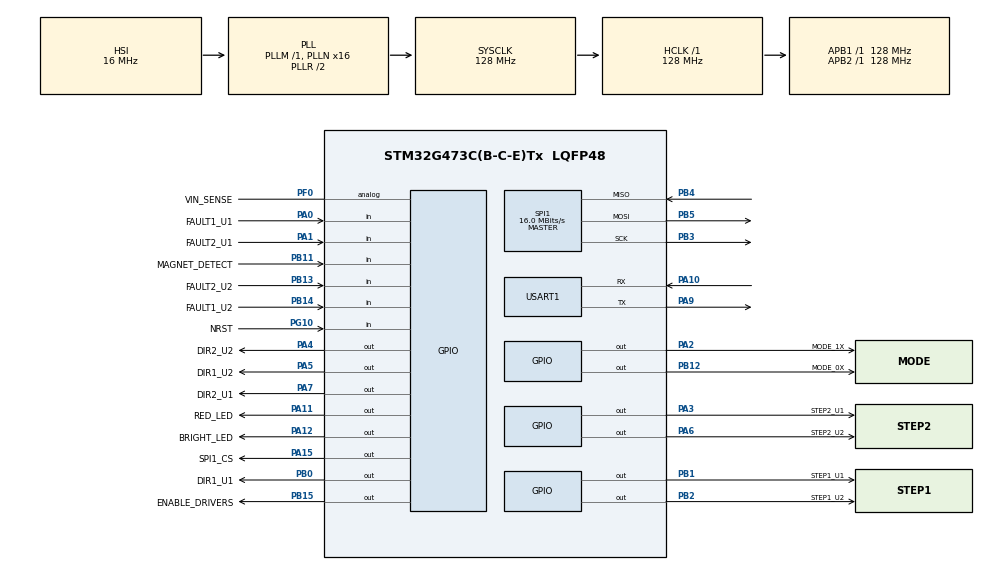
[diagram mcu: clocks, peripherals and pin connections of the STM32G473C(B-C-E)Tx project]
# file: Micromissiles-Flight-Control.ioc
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Dma.Request0=SPI1_TX
Dma.Request1=SPI1_RX
Dma.SPI1_RX.1.Direction=DMA_PERIPH_TO_MEMORY
Dma.SPI1_RX.1.EventEnable=DISABLE
Dma.SPI1_RX.1.Instance=DMA1_Channel2
Dma.SPI1_RX.1.MemDataAlignment=DMA_MDATAALIGN_BYTE
Dma.SPI1_RX.1.MemInc=DMA_MINC_ENABLE
Dma.SPI1_RX.1.Mode=DMA_NORMAL
Dma.SPI1_RX.1.PeriphDataAlignment=DMA_PDATAALIGN_BYTE
Dma.SPI1_RX.1.PeriphInc=DMA_PINC_DISABLE
Dma.SPI1_RX.1.Polarity=HAL_DMAMUX_REQ_GEN_RISING
Dma.SPI1_RX.1.Priority=DMA_PRIORITY_HIGH
Dma.SPI1_RX.1.RequestNumber=1
Dma.SPI1_RX.1.SignalID=NONE
Dma.SPI1_RX.1.SyncEnable=DISABLE
Dma.SPI1_RX.1.SyncPolarity=HAL_DMAMUX_SYNC_NO_EVENT
Dma.SPI1_RX.1.SyncRequestNumber=1
Dma.SPI1_RX.1.SyncSignalID=NONE
Dma.SPI1_TX.0.Direction=DMA_MEMORY_TO_PERIPH
Dma.SPI1_TX.0.EventEnable=DISABLE
Dma.SPI1_TX.0.Instance=DMA1_Channel1
Dma.SPI1_TX.0.MemDataAlignment=DMA_MDATAALIGN_BYTE
Dma.SPI1_TX.0.MemInc=DMA_MINC_DISABLE
Dma.SPI1_TX.0.Mode=DMA_NORMAL
Dma.SPI1_TX.0.PeriphDataAlignment=DMA_PDATAALIGN_BYTE
Dma.SPI1_TX.0.PeriphInc=DMA_PINC_DISABLE
Dma.SPI1_TX.0.Polarity=HAL_DMAMUX_REQ_GEN_RISING
Dma.SPI1_TX.0.Priority=DMA_PRIORITY_HIGH
Dma.SPI1_TX.0.RequestNumber=1
Dma.SPI1_TX.0.SignalID=NONE
Dma.SPI1_TX.0.SyncEnable=ENABLE
Dma.SPI1_TX.0.SyncPolarity=HAL_DMAMUX_SYNC_RISING
Dma.SPI1_TX.0.SyncRequestNumber=1
Dma.SPI1_TX.0.SyncSignalID=NONE
Mcu.Family=STM32G4
Mcu.Name=STM32G473C(B-C-E)Tx
Mcu.Package=LQFP48
NVIC.DMA1_Channel1_IRQn=true\:0\:0\:false\:false\:true\:false\:true\:true
NVIC.DMA1_Channel2_IRQn=true\:0\:0\:false\:false\:true\:false\:true\:true
NVIC.DMAMUX_OVR_IRQn=true\:0\:0\:false\:false\:true\:false\:true\:true
NVIC.PriorityGroup=NVIC_PRIORITYGROUP_4
PA0.GPIO_Label=FAULT1_U1
PA0.GPIO_PuPd=GPIO_PULLUP
PA0.Signal=GPIO_Input
PA1.GPIO_Label=FAULT2_U1
PA1.GPIO_PuPd=GPIO_PULLUP
PA1.Signal=GPIO_Input
PA10.Mode=Asynchronous
PA10.Signal=USART1_RX
PA11.GPIO_Label=RED_LED
PA11.GPIO_PuPd=GPIO_PULLDOWN
PA11.Signal=GPIO_Output
PA12.GPIO_Label=BRIGHT_LED
PA12.GPIO_PuPd=GPIO_PULLDOWN
PA12.Signal=GPIO_Output
PA13.Mode=Serial_Wire
PA13.Signal=SYS_JTMS-SWDIO
PA14.Mode=Serial_Wire
PA14.Signal=SYS_JTCK-SWCLK
PA15.GPIO_Label=SPI1_CS
PA15.GPIO_Speed=GPIO_SPEED_FREQ_VERY_HIGH
PA15.PinState=GPIO_PIN_SET
PA15.Signal=GPIO_Output
PA2.GPIO_Label=MODE_1X
PA2.GPIO_PuPd=GPIO_PULLDOWN
PA2.Signal=GPIO_Output
PA3.GPIO_Label=STEP2_U1
PA3.GPIO_PuPd=GPIO_PULLDOWN
PA3.Signal=GPIO_Output
PA4.GPIO_Label=DIR2_U2
PA4.GPIO_PuPd=GPIO_PULLDOWN
PA4.Signal=GPIO_Output
PA5.GPIO_Label=DIR1_U2
PA5.GPIO_PuPd=GPIO_PULLDOWN
PA5.Signal=GPIO_Output
PA6.GPIO_Label=STEP2_U2
PA6.GPIO_PuPd=GPIO_PULLDOWN
PA6.Signal=GPIO_Output
PA7.GPIO_Label=DIR2_U1
PA7.GPIO_PuPd=GPIO_PULLDOWN
PA7.Signal=GPIO_Output
PA9.Mode=Asynchronous
PA9.Signal=USART1_TX
PB0.GPIO_Label=DIR1_U1
PB0.GPIO_PuPd=GPIO_PULLDOWN
PB0.Signal=GPIO_Output
PB1.GPIO_Label=STEP1_U1
PB1.GPIO_PuPd=GPIO_PULLDOWN
PB1.Signal=GPIO_Output
PB11.GPIO_Label=MAGNET_DETECT
PB11.GPIO_PuPd=GPIO_PULLDOWN
PB11.Signal=GPIO_Input
PB12.GPIO_Label=MODE_0X
PB12.GPIO_PuPd=GPIO_PULLDOWN
PB12.Signal=GPIO_Output
PB13.GPIO_Label=FAULT2_U2
PB13.GPIO_PuPd=GPIO_PULLUP
PB13.Signal=GPIO_Input
PB14.GPIO_Label=FAULT1_U2
PB14.GPIO_PuPd=GPIO_PULLUP
PB14.Signal=GPIO_Input
PB15.GPIO_Label=ENABLE_DRIVERS
PB15.Signal=GPIO_Output
PB2.GPIO_Label=STEP1_U2
PB2.GPIO_PuPd=GPIO_PULLDOWN
PB2.Signal=GPIO_Output
PB3.GPIO_Speed=GPIO_SPEED_FREQ_VERY_HIGH
PB3.Mode=Full_Duplex_Master
PB3.Signal=SPI1_SCK
PB4.GPIO_Speed=GPIO_SPEED_FREQ_VERY_HIGH
PB4.Mode=Full_Duplex_Master
PB4.Signal=SPI1_MISO
PB5.GPIO_Speed=GPIO_SPEED_FREQ_VERY_HIGH
PB5.Mode=Full_Duplex_Master
PB5.Signal=SPI1_MOSI
PF0-OSC_IN.GPIO_Label=VIN_SENSE
PF0-OSC_IN.GPIO_Pd=GPIO_NOPULL
PF0-OSC_IN.Signal=GPIO_Analog
PG10-NRST.GPIO_Label=NRST
PG10-NRST.GPIO_PuPd=GPIO_PULLUP
PG10-NRST.Signal=GPIO_Input
ProjectManager.HeapSize=0x200
ProjectManager.StackSize=0x400
ProjectManager.TargetToolchain=STM32CubeIDE
RCC.ADC12Freq_Value=128000000
RCC.ADC345Freq_Value=128000000
RCC.AHBFreq_Value=128000000
RCC.APB1Freq_Value=128000000
RCC.APB1TimFreq_Value=128000000
RCC.APB2Freq_Value=128000000
RCC.APB2TimFreq_Value=128000000
RCC.CortexFreq_Value=128000000
RCC.EXTERNAL_CLOCK_VALUE=12288000
RCC.HCLKFreq_Value=128000000
RCC.HSE_VALUE=8000000
RCC.HSI48_VALUE=48000000
RCC.HSI_VALUE=16000000
RCC.LSE_VALUE=32768
RCC.PLLN=16
RCC.SYSCLKFreq_VALUE=128000000
RCC.SYSCLKSource=RCC_SYSCLKSOURCE_PLLCLK
RCC.USBFreq_Value=128000000
RCC.VCOOutputFreq_Value=256000000
SPI1.BaudRatePrescaler=SPI_BAUDRATEPRESCALER_8
SPI1.CLKPhase=SPI_PHASE_2EDGE
SPI1.CLKPolarity=SPI_POLARITY_HIGH
SPI1.CalculateBaudRate=16.0 MBits/s
SPI1.DataSize=SPI_DATASIZE_8BIT
SPI1.Direction=SPI_DIRECTION_2LINES
SPI1.Mode=SPI_MODE_MASTER
SPI1.VirtualType=VM_MASTER
TIM1.AutoReloadPreload=TIM_AUTORELOAD_PRELOAD_ENABLE
TIM1.PeriodNoDither=128-1
TIM1.Prescaler=1000-1
TIM1.TIM_MasterOutputTrigger=TIM_TRGO_UPDATE
TIM1.TIM_MasterSlaveMode=TIM_MASTERSLAVEMODE_DISABLE
USART1.VirtualMode-Asynchronous=VM_ASYNC
VP_SYS_VS_DBSignals.Mode=DisableDeadBatterySignals
VP_TIM1_VS_ClockSourceINT.Mode=Internal
board=custom

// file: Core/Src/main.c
/* USER CODE BEGIN Header */
/**
  ******************************************************************************
  * @file           : main.c
  * @brief          : Main program body
  ******************************************************************************
  * @attention
  *
  * Copyright (c) 2025 STMicroelectronics.
  * All rights reserved.
  *
  * This software is licensed under terms that can be found in the LICENSE file
  * in the root directory of this software component.
  * If no LICENSE file comes with this software, it is provided AS-IS.
  *
  ******************************************************************************
  */
/* USER CODE END Header */
#include "main.h"

/* USER CODE BEGIN Includes */
#include <stdint.h>
#include <string.h>
#include <stdlib.h>
#include <math.h>
#include <stdbool.h>
#include <stdio.h>

/* USER CODE END Includes */

/* USER CODE BEGIN PTD */
typedef enum {
  REGISTER_SENSOR_CONFIG0 = 0x03, // These five are from Titan
  REGISTER_FIFO_CONFIG = 0x16,
  REGISTER_FIFO_COUNTH = 0x2E,
  REGISTER_FIFO_COUNTL = 0x2F,
  REGISTER_FIFO_DATA = 0x30,

  REGISTER_IMU_READINGS = 0x1D, // Starts at TEMP_DATA1, read the next 16 bytes to 0x2C (TMST_FSYNCL)
//
//  REGISTER_TEMP_DATA1 = 0x1D,
//  REGISTER_TEMP_DATA0 = 0x1E,
//  REGISTER_ACCEL_DATA_X1 = 0x1F, // Accel data from 0x1F to 0x24 (X->Y->Z), gyro data from 0x25 to 0x2A (X->Y->Z)
//  	  	  	  	  	  	  	  	 // 0x1F contains bits [15:8], 0x20 contains bits [7:0]
//  REGISTER_TMST_FSYNCH = 0x2B,
//  REGISTER_TMST_FSYNCL = 0x2C,

  REGISTER_PWR_MGMT0 = 0x4E,
  REGISTER_GYRO_CONFIG0 = 0x4F,
  REGISTER_ACCEL_CONFIG0 = 0x50,

  REGISTER_FIFO_CONFIG1 = 0x5F, // These four are from Titan
  REGISTER_FIFO_CONFIG2 = 0x60,
  REGISTER_FIFO_CONFIG3 = 0x61,
  REGISTER_WHO_AM_I = 0x75,

  REGISTER_BANK_SEL = 0x76, // 000 for 0, 001 for 1, 010 for 2, 011 for 3, and 100 for 4
} imu_register_e;

//typedef struct {
//  uint8_t reserved;
//  int8_t temperature_1;
//  int8_t temperature_0;
//  int8_t accel_x1;
//  int8_t accel_x0;
//  int8_t accel_y1;
//  int8_t accel_y0;
//  int8_t accel_z1;
//  int8_t accel_z0;
//  int8_t gyro_x1;
//  int8_t gyro_x0;
//  int8_t gyro_y1;
//  int8_t gyro_y0;
//  int8_t gyro_z1;
//  int8_t gyro_z0;
//  int8_t timestamp_1;
//  int8_t timestamp_0;
//} imu_packet_t;

typedef struct {
  uint8_t reserved;
  uint8_t temperature_1;
  uint8_t temperature_0;
  uint8_t accel_x1;
  uint8_t accel_x0;
  uint8_t accel_y1;
  uint8_t accel_y0;
  uint8_t accel_z1;
  uint8_t accel_z0;
  uint8_t gyro_x1;
  uint8_t gyro_x0;
  uint8_t gyro_y1;
  uint8_t gyro_y0;
  uint8_t gyro_z1;
  uint8_t gyro_z0;
  uint8_t timestamp_1;
  uint8_t timestamp_0;
} imu_packet_t;
/* USER CODE END PTD */

/* USER CODE BEGIN PD */
#define SPI_TIMEOUT 10
#define SPI_MAX_PACKET_SIZE 64
#define IMU_PACKET_SIZE 16 // 2B temperature, 6B X->Y->Z accel, 6B X->Y->Z gyro, 2B timestamp
#define IMU_SPI_PACKET_SIZE (IMU_PACKET_SIZE + 1)
#define IMU_DEFAULT_WHO_AM_I 0x42
//#define IMU_FLASH_SIZE (126 * 1024)
#define ACCEL_THRESHOLD_RAW 3000
#define GYRO_THRESHOLD_RAW 90
#define GRAV_HYSTERESIS 2000

/* USER CODE END PD */

SPI_HandleTypeDef hspi1;
DMA_HandleTypeDef hdma_spi1_tx;
DMA_HandleTypeDef hdma_spi1_rx;

TIM_HandleTypeDef htim1;

UART_HandleTypeDef huart1;

/* USER CODE BEGIN PV */
uint8_t g_spi_tx_buffer[SPI_MAX_PACKET_SIZE];
uint8_t g_spi_rx_buffer[SPI_MAX_PACKET_SIZE];
//uint8_t g_imu_buffer[IMU_PACKET_SIZE];

//uint8_t g_imu_flash_buffer[IMU_FLASH_SIZE] __attribute__((section(".imu")));
//size_t g_imu_flash_num_bytes_written = 0;
uint32_t current_write_addr = 0x08070000;
const uint32_t FLASH_END_ADDR = 0x08080000;
uint32_t last_write_tick = 0;
uint32_t last_uart_tick = 0;
char uart_buf[64];

uint32_t last_blink_tick = 0;
bool led_state = false;

bool magnet_on = false;
bool prev_magnet_on = false;

volatile int16_t current_accel_x = 0, current_accel_y = 0, current_accel_z = 0;
volatile int16_t current_gyro_x = 0, current_gyro_y = 0, current_gyro_z = 0;

volatile float q0 = 1.0f, q1 = 0.0f, q2 = 0.0f, q3 = 0.0f;
const float beta = 0.1;

volatile float current_roll = 0.0f;
volatile float roll_error = 0.0f;
//float target_pitch = 0.0f;
float target_roll = 0.0f;
bool has_target_orientation = false;
/* USER CODE END PV */

void SystemClock_Config(void);
static void MX_GPIO_Init(void);
static void MX_DMA_Init(void);
static void MX_SPI1_Init(void);
static void MX_TIM1_Init(void);
static void MX_USART1_UART_Init(void);
/* USER CODE BEGIN PFP */

void MadgwickAHRSupdateIMU(float gx, float gy, float gz, float ax, float ay, float az, float dt);

static void red_led_on(void) {
  HAL_GPIO_WritePin(GPIOA, RED_LED_Pin, GPIO_PIN_SET);
}
static void red_led_off(void) {
  HAL_GPIO_WritePin(GPIOA, RED_LED_Pin, GPIO_PIN_RESET);
}

static void bright_led_on(void) {
  HAL_GPIO_WritePin(GPIOA, BRIGHT_LED_Pin, GPIO_PIN_SET);
}
static void bright_led_off(void) {
  HAL_GPIO_WritePin(GPIOA, BRIGHT_LED_Pin, GPIO_PIN_RESET);
}

/* USER CODE END PFP */

/* USER CODE BEGIN 0 */
static void cs_select(void) {
	HAL_GPIO_WritePin(SPI1_CS_GPIO_Port, SPI1_CS_Pin, GPIO_PIN_RESET);
}
static void cs_deselect(void) {
	HAL_GPIO_WritePin(SPI1_CS_GPIO_Port, SPI1_CS_Pin, GPIO_PIN_SET);
}

static void spi_write(imu_register_e address, uint8_t data) {
  cs_select();
  g_spi_tx_buffer[0] = address & 0x7F;
  g_spi_tx_buffer[1] = data;
  HAL_SPI_Transmit(&hspi1, g_spi_tx_buffer, 2, SPI_TIMEOUT);
  cs_deselect();
}

static void spi_read(imu_register_e address, size_t length) {
  cs_select();
  g_spi_tx_buffer[0] = address | 0x80;
  HAL_SPI_TransmitReceive(&hspi1, g_spi_tx_buffer, g_spi_rx_buffer, length, SPI_TIMEOUT);
  cs_deselect();
}

static void imu_init(void) {
  spi_write(REGISTER_BANK_SEL, 0x00);
  HAL_Delay(50);
//  // Enable stream-to-FIFO mode.
//  spi_write(REGISTER_FIFO_CONFIG, 1 << 6);
//  // Enable temperature, gyroscope, and accelomerater data.
//  spi_write(REGISTER_FIFO_CONFIG1, 0x07);
  spi_write(REGISTER_PWR_MGMT0, 0x0F);
  HAL_Delay(50);
  spi_write(REGISTER_GYRO_CONFIG0, 0x44); // 500 degrees full scale, 4kHz ODR
  HAL_Delay(50);
  spi_write(REGISTER_ACCEL_CONFIG0, 0x24); // 8 g's full scale, 4kHz ODR
  HAL_Delay(10);
}

static void imu_verify(void) {
  spi_read(REGISTER_WHO_AM_I, /*length=*/2);
  if (g_spi_rx_buffer[1] == IMU_DEFAULT_WHO_AM_I) {
      red_led_on();
      HAL_Delay(1000);
      red_led_off();
  } else {
      red_led_on();
      HAL_Delay(3000);
      red_led_off();
  }
}

void save_to_flash(uint8_t *pData, uint32_t flash_address) {
  HAL_FLASH_Unlock();

//  // Loop 1
//  uint64_t data_packed = 0;
//  memcpy(&data_packed, pData, 8);
//  if (HAL_FLASH_Program(FLASH_TYPEPROGRAM_DOUBLEWORD, flash_address, data_packed) != HAL_OK) {
//	  return;
//  }
//
//  // Loop 2
//  uint64_t data_packed = 0;
//    memcpy(&data_packed, pData+8, 8);
////    if (HAL_FLASH_Program(FLASH_TYPEPROGRAM_DOUBLEWORD, flash_address+8, data_packed) != HAL_OK) {
////  	  break;
////    }

  for (int i = 0; i < 2; i++)
      {
          uint64_t data_packed = 0;

          // Safe copying: We use memcpy to move 8 bytes from the byte array
          // into a 64-bit variable. This avoids memory alignment crashes
          // that can happen if you just cast pointers.
          memcpy(&data_packed, (pData + (i * 8)), 8);

          // 3. Program the Double Word (64-bit)
          // Note: We increment the address by 8 bytes for the second loop iteration
          if (HAL_FLASH_Program(FLASH_TYPEPROGRAM_DOUBLEWORD, flash_address + (i * 8), data_packed) != HAL_OK)
          {
              // Optional: Handle Error (e.g., turn on Error LED)
              // Error_Handler();
              break;
          }
      }

  HAL_FLASH_Lock();
}

void TIM1_UP_TIM16_IRQHandler(void) {
  HAL_TIM_IRQHandler(&htim1);
}

//void temperature_check(int16_t detected_temperature) {
//	int16_t celsius = 25 + (detected_temperature / 132.48);
//	if (celsius > 1) { // Another option is celsius < 100 (both should obviously return true)
//		red_led_on();
//		HAL_Delay(1000);
//		red_led_off();
//	} else {
//		red_led_on();
//		HAL_Delay(1000);
//		red_led_off();
//	}
//}

void HAL_TIM_PeriodElapsedCallback(TIM_HandleTypeDef *htim) {
  if (htim->Instance == TIM1) {

    if (hspi1.State == HAL_SPI_STATE_READY) {
    	spi_read(REGISTER_IMU_READINGS, IMU_SPI_PACKET_SIZE);
    	imu_packet_t* packet = (imu_packet_t*)g_spi_rx_buffer;
    	int16_t temperature = ((int16_t)(packet->temperature_1) << 8) | packet->temperature_0;
    	int16_t accel_x = ((int16_t)(packet->accel_x1) << 8) | packet->accel_x0;
    	int16_t accel_y = ((int16_t)(packet->accel_y1) << 8) | packet->accel_y0;
    	int16_t accel_z = ((int16_t)(packet->accel_z1) << 8) | packet->accel_z0;
    	int16_t gyro_x = ((int16_t)(packet->gyro_x1) << 8) | packet->gyro_x0;
    	int16_t gyro_y = ((int16_t)(packet->gyro_y1) << 8) | packet->gyro_y0;
    	int16_t gyro_z = ((int16_t)(packet->gyro_z1) << 8) | packet->gyro_z0;
    	int16_t timestamp = ((int16_t)(packet->timestamp_1) << 8) | packet->timestamp_0;

    	current_accel_x = accel_x;
    	current_accel_y = accel_y;
    	current_accel_z = accel_z;

    	float gx = (float)gyro_x * 0.015258f;
    	float gy = (float)gyro_y * 0.015258f;
    	float gz = (float)gyro_z * 0.015258f;

    	float gx_rot = (gx - gy) * 0.70710678f;
    	float gy_rot = (gx + gy) * 0.70710678f;

    	float ax = (float)accel_x;
    	float ay = (float)accel_y;
    	float az = (float)accel_z;
    	float ax_rot = (ax - ay) * 0.70710678f;
    	float ay_rot = (ax + ay) * 0.70710678f;

    	MadgwickAHRSupdateIMU(gx_rot, gy_rot, gz, ax_rot, ay_rot, az, 0.001f);
    	current_roll = atan2f(q0*q1 + q2*q3, 0.5f - q1*q1 - q2*q2) * 57.29578f;

    	if (has_target_orientation) {
    		roll_error = current_roll - target_roll;
    		if (roll_error > 180.0f) roll_error -= 360.0f;
    		if (roll_error < -180.0f) roll_error += 360.0f;
    	} else {
    		roll_error = 0.0f;
    	}
    	// temperature_check(temperature);

//    	if (magnet_on) {
//    		if (HAL_GetTick() - last_write_tick >= 10) {
//    			last_write_tick = HAL_GetTick();
//    			if (current_write_addr + 16 < FLASH_END_ADDR) {
//    				red_led_on();
//    				save_to_flash((uint8_t*)g_spi_rx_buffer, current_write_addr);
//    				current_write_addr += 16;
//    			} else { // Flash is full
//    				magnet_on = false;
//    			}
//    		}
//    	} else {
//    		red_led_off();
//    	}

    }
    //led_activity_toggle();
  }
}

static float invSqrt(float x) {
    float halfx = 0.5f * x;
    float y = x;
    long i = *(long*)&y;
    i = 0x5f3759df - (i >> 1);
    y = *(float*)&i;
    y = y * (1.5f - (halfx * y * y));
    return y;
}

void MadgwickAHRSupdateIMU(float gx, float gy, float gz, float ax, float ay, float az, float dt) {
    float recipNorm;
    float s0, s1, s2, s3;
    float qDot1, qDot2, qDot3, qDot4;
    float _2q0, _2q1, _2q2, _2q3, _4q0, _4q1, _4q2 ,_8q1, _8q2, q0q0, q1q1, q2q2, q3q3;

    // Convert gyroscope degrees/sec to radians/sec
    gx *= 0.0174533f;
    gy *= 0.0174533f;
    gz *= 0.0174533f;

    // Rate of change of quaternion from gyroscope
    qDot1 = 0.5f * (-q1 * gx - q2 * gy - q3 * gz);
    qDot2 = 0.5f * (q0 * gx + q2 * gz - q3 * gy);
    qDot3 = 0.5f * (q0 * gy - q1 * gz + q3 * gx);
    qDot4 = 0.5f * (q0 * gz + q1 * gy - q2 * gx);

    // Compute feedback only if accelerometer measurement valid (avoids NaN in accelerometer normalization)
    if(!((ax == 0.0f) && (ay == 0.0f) && (az == 0.0f))) {
        // Normalise accelerometer measurement
        recipNorm = invSqrt(ax * ax + ay * ay + az * az);
        ax *= recipNorm;
        ay *= recipNorm;
        az *= recipNorm;

        // Auxiliary variables to avoid repeated arithmetic
        _2q0 = 2.0f * q0;
        _2q1 = 2.0f * q1;
        _2q2 = 2.0f * q2;
        _2q3 = 2.0f * q3;
        _4q0 = 4.0f * q0;
        _4q1 = 4.0f * q1;
        _4q2 = 4.0f * q2;
        _8q1 = 8.0f * q1;
        _8q2 = 8.0f * q2;
        q0q0 = q0 * q0;
        q1q1 = q1 * q1;
        q2q2 = q2 * q2;
        q3q3 = q3 * q3;

        // Gradient decent algorithm corrective step
        s0 = _4q0 * q2q2 + _2q2 * ax + _4q0 * q1q1 - _2q1 * ay;
        s1 = _4q1 * q3q3 - _2q3 * ax + 4.0f * q0q0 * q1 - _2q0 * ay - _4q1 + _8q1 * q1q1 + _8q1 * q2q2 + _4q1 * az;
        s2 = 4.0f * q0q0 * q2 + _2q0 * ax + _4q2 * q3q3 - _2q3 * ay - _4q2 + _8q2 * q1q1 + _8q2 * q2q2 + _4q2 * az;
        s3 = 4.0f * q1q1 * q3 - _2q1 * ax + 4.0f * q2q2 * q3 - _2q2 * ay;
        recipNorm = invSqrt(s0 * s0 + s1 * s1 + s2 * s2 + s3 * s3); // normalise step magnitude
        s0 *= recipNorm;
        s1 *= recipNorm;
        s2 *= recipNorm;
        s3 *= recipNorm;

        // Apply feedback step
        qDot1 -= beta * s0;
        qDot2 -= beta * s1;
        qDot3 -= beta * s2;
        qDot4 -= beta * s3;
    }

    // Integrate rate of change of quaternion to yield quaternion
    q0 += qDot1 * dt;
    q1 += qDot2 * dt;
    q2 += qDot3 * dt;
    q3 += qDot4 * dt;

    // Normalise quaternion
    recipNorm = invSqrt(q0 * q0 + q1 * q1 + q2 * q2 + q3 * q3);
    q0 *= recipNorm;
    q1 *= recipNorm;
    q2 *= recipNorm;
    q3 *= recipNorm;
}

/* USER CODE END 0 */

int main(void)
{

  /* MCU Configuration--------------------------------------------------------*/

  /* Reset of all peripherals, Initializes the Flash interface and the Systick. */
  HAL_Init();

  /* Configure the system clock */
  SystemClock_Config();

  /* Initialize all configured peripherals */
  MX_GPIO_Init();
  MX_DMA_Init();
  MX_SPI1_Init();
  MX_TIM1_Init();
  MX_USART1_UART_Init();
  /* USER CODE BEGIN 2 */
  HAL_NVIC_EnableIRQ(TIM1_UP_TIM16_IRQn);
  imu_init();
  HAL_Delay(2000);
  imu_verify();
  HAL_TIM_Base_Start_IT(&htim1);
  HAL_GPIO_WritePin(GPIOB, ENABLE_DRIVERS_Pin, GPIO_PIN_SET);
  /* USER CODE END 2 */

  /* Infinite loop */
  /* USER CODE BEGIN WHILE */
  while (1)
  {
	  // 1. Read current state of the sensor
	        magnet_on = (HAL_GPIO_ReadPin(MAGNET_DETECT_GPIO_Port, MAGNET_DETECT_Pin) == GPIO_PIN_SET);

	        // 2. Detect RISING edge (False changing to True)
	        if (magnet_on && !prev_magnet_on) {
	            // Reset blink timer and turn LED on immediately
	            last_blink_tick = HAL_GetTick();
	            bright_led_on();
	            led_state = true;
	            target_roll = current_roll;
	            has_target_orientation = true;
	        }

	        // 3. Detect FALLING edge (True changing to False)
	        else if (!magnet_on && prev_magnet_on) {
	            // Ensure LED stays off when the magnet is removed
	            bright_led_off();
	            led_state = false;
//
//	            // Forget the orientation
//	            target_roll = 0.0f;
	            has_target_orientation = false;
	        }

	        // 4. Handle 1 Hz Blinking (100ms ON, 900ms OFF)
	        if (magnet_on) {
//	        	if (roll_error > -15.0f && roll_error < 15.0f) {
//	        		red_led_on();
//	        	} else {
//		        	red_led_off();
//	        	}
	        	if (led_state) {
	        		if (HAL_GetTick() - last_blink_tick >= 100) {
	        			last_blink_tick = HAL_GetTick();
	        			bright_led_off();
	        			led_state = false;
	        		}
	        	} else {
	        		if (HAL_GetTick() - last_blink_tick >= 900) {
	        			last_blink_tick = HAL_GetTick();
	        			bright_led_on();
	        			led_state = true;
	        		}
	        	}
	        } else {
	        	red_led_off();
	        	led_state = false;
	        }

        	if (HAL_GetTick() - last_uart_tick >= 20) { // Non-blocking delay (20ms = 50Hz)
        		last_uart_tick = HAL_GetTick();

        		// 1. Bypass the float linker error by extracting whole and fractional parts
        		bool is_negative = (current_roll < 0.0f);
        		float abs_roll = is_negative ? -current_roll : current_roll;

        		int whole_part = (int)abs_roll;
        		int frac_part = (int)((abs_roll - whole_part) * 100.0f); // 2 decimal places

        		// 2. Format the payload into a buffer using standard integer formatting (%d)
        		char tx_buf[64];
        		int tx_length = snprintf(tx_buf, sizeof(tx_buf), ">Roll:%s%d.%02d\r\n", is_negative ? "-" : "", whole_part, frac_part);

        		// 3. Begin Tx Transfer (STM32 equivalent of cyhal_uart_write)
        		HAL_UART_Transmit(&huart1, (uint8_t*)tx_buf, tx_length, 10);
        	}

	        prev_magnet_on = magnet_on;

	        // --- Future Stepper Motor Correction Logic Goes Here ---
	        // if (has_target_orientation) {
	        //     // Compare current_accel_x/y/z to target_pitch/roll and step motors
	        // }

//	  HAL_GPIO_WritePin(GPIOA, DIR2_U1_Pin|DIR1_U2_Pin|DIR2_U2_Pin, GPIO_PIN_SET);
//	  HAL_GPIO_WritePin(GPIOB, DIR1_U1_Pin, GPIO_PIN_SET);
//	  HAL_Delay(100);
//	  for (int i=0; i<8; i++) {
//		  HAL_GPIO_WritePin(GPIOA, STEP2_U1_Pin|STEP2_U2_Pin, GPIO_PIN_SET);
//		  HAL_GPIO_WritePin(GPIOB, STEP1_U1_Pin|STEP1_U2_Pin, GPIO_PIN_SET);
//		  HAL_Delay(125);
//		  HAL_GPIO_WritePin(GPIOA, STEP2_U1_Pin|STEP2_U2_Pin, GPIO_PIN_RESET);
//		  HAL_GPIO_WritePin(GPIOB, STEP1_U1_Pin|STEP1_U2_Pin, GPIO_PIN_RESET);
//		  HAL_Delay(125);
//	  }
//
//	  HAL_GPIO_WritePin(GPIOA, DIR2_U1_Pin|DIR1_U2_Pin|DIR2_U2_Pin, GPIO_PIN_RESET);
//	  HAL_GPIO_WritePin(GPIOB, DIR1_U1_Pin, GPIO_PIN_RESET);
//	  HAL_Delay(100);
//
//	  for (int i=0; i<8; i++) {
//		  HAL_GPIO_WritePin(GPIOA, STEP2_U1_Pin|STEP2_U2_Pin, GPIO_PIN_SET);
//		  HAL_GPIO_WritePin(GPIOB, STEP1_U1_Pin|STEP1_U2_Pin, GPIO_PIN_SET);
//		  HAL_Delay(125);
//		  HAL_GPIO_WritePin(GPIOA, STEP2_U1_Pin|STEP2_U2_Pin, GPIO_PIN_RESET);
//		  HAL_GPIO_WritePin(GPIOB, STEP1_U1_Pin|STEP1_U2_Pin, GPIO_PIN_RESET);
//		  HAL_Delay(125);
//	  }

    /* USER CODE END WHILE */

  }
}

void SystemClock_Config(void)
{
  RCC_OscInitTypeDef RCC_OscInitStruct = {0};
  RCC_ClkInitTypeDef RCC_ClkInitStruct = {0};

  /** Configure the main internal regulator output voltage
  */
  HAL_PWREx_ControlVoltageScaling(PWR_REGULATOR_VOLTAGE_SCALE1);

  /** Initializes the RCC Oscillators according to the specified parameters
  * in the RCC_OscInitTypeDef structure.
  */
  RCC_OscInitStruct.OscillatorType = RCC_OSCILLATORTYPE_HSI;
  RCC_OscInitStruct.HSIState = RCC_HSI_ON;
  RCC_OscInitStruct.HSICalibrationValue = RCC_HSICALIBRATION_DEFAULT;
  RCC_OscInitStruct.PLL.PLLState = RCC_PLL_ON;
  RCC_OscInitStruct.PLL.PLLSource = RCC_PLLSOURCE_HSI;
  RCC_OscInitStruct.PLL.PLLM = RCC_PLLM_DIV1;
  RCC_OscInitStruct.PLL.PLLN = 16;
  RCC_OscInitStruct.PLL.PLLP = RCC_PLLP_DIV2;
  RCC_OscInitStruct.PLL.PLLQ = RCC_PLLQ_DIV2;
  RCC_OscInitStruct.PLL.PLLR = RCC_PLLR_DIV2;
  if (HAL_RCC_OscConfig(&RCC_OscInitStruct) != HAL_OK)
  {
    Error_Handler();
  }

  /** Initializes the CPU, AHB and APB buses clocks
  */
  RCC_ClkInitStruct.ClockType = RCC_CLOCKTYPE_HCLK|RCC_CLOCKTYPE_SYSCLK
                              |RCC_CLOCKTYPE_PCLK1|RCC_CLOCKTYPE_PCLK2;
  RCC_ClkInitStruct.SYSCLKSource = RCC_SYSCLKSOURCE_PLLCLK;
  RCC_ClkInitStruct.AHBCLKDivider = RCC_SYSCLK_DIV1;
  RCC_ClkInitStruct.APB1CLKDivider = RCC_HCLK_DIV1;
  RCC_ClkInitStruct.APB2CLKDivider = RCC_HCLK_DIV1;

  if (HAL_RCC_ClockConfig(&RCC_ClkInitStruct, FLASH_LATENCY_4) != HAL_OK)
  {
    Error_Handler();
  }
}

static void MX_SPI1_Init(void)
{

  /* SPI1 parameter configuration*/
  hspi1.Instance = SPI1;
  hspi1.Init.Mode = SPI_MODE_MASTER;
  hspi1.Init.Direction = SPI_DIRECTION_2LINES;
  hspi1.Init.DataSize = SPI_DATASIZE_8BIT;
  hspi1.Init.CLKPolarity = SPI_POLARITY_HIGH;
  hspi1.Init.CLKPhase = SPI_PHASE_2EDGE;
  hspi1.Init.NSS = SPI_NSS_SOFT;
  hspi1.Init.BaudRatePrescaler = SPI_BAUDRATEPRESCALER_8;
  hspi1.Init.FirstBit = SPI_FIRSTBIT_MSB;
  hspi1.Init.TIMode = SPI_TIMODE_DISABLE;
  hspi1.Init.CRCCalculation = SPI_CRCCALCULATION_DISABLE;
  hspi1.Init.CRCPolynomial = 7;
  hspi1.Init.CRCLength = SPI_CRC_LENGTH_DATASIZE;
  hspi1.Init.NSSPMode = SPI_NSS_PULSE_DISABLE;
  if (HAL_SPI_Init(&hspi1) != HAL_OK)
  {
    Error_Handler();
  }

}

static void MX_TIM1_Init(void)
{

  TIM_ClockConfigTypeDef sClockSourceConfig = {0};
  TIM_MasterConfigTypeDef sMasterConfig = {0};

  htim1.Instance = TIM1;
  htim1.Init.Prescaler = 1000-1;
  htim1.Init.CounterMode = TIM_COUNTERMODE_UP;
  htim1.Init.Period = 127;
  htim1.Init.ClockDivision = TIM_CLOCKDIVISION_DIV1;
  htim1.Init.RepetitionCounter = 0;
  htim1.Init.AutoReloadPreload = TIM_AUTORELOAD_PRELOAD_ENABLE;
  if (HAL_TIM_Base_Init(&htim1) != HAL_OK)
  {
    Error_Handler();
  }
  sClockSourceConfig.ClockSource = TIM_CLOCKSOURCE_INTERNAL;
  if (HAL_TIM_ConfigClockSource(&htim1, &sClockSourceConfig) != HAL_OK)
  {
    Error_Handler();
  }
  sMasterConfig.MasterOutputTrigger = TIM_TRGO_UPDATE;
  sMasterConfig.MasterOutputTrigger2 = TIM_TRGO2_RESET;
  sMasterConfig.MasterSlaveMode = TIM_MASTERSLAVEMODE_DISABLE;
  if (HAL_TIMEx_MasterConfigSynchronization(&htim1, &sMasterConfig) != HAL_OK)
  {
    Error_Handler();
  }

}

static void MX_USART1_UART_Init(void)
{

  huart1.Instance = USART1;
  huart1.Init.BaudRate = 115200;
  huart1.Init.WordLength = UART_WORDLENGTH_8B;
  huart1.Init.StopBits = UART_STOPBITS_1;
  huart1.Init.Parity = UART_PARITY_NONE;
  huart1.Init.Mode = UART_MODE_TX_RX;
  huart1.Init.HwFlowCtl = UART_HWCONTROL_NONE;
  huart1.Init.OverSampling = UART_OVERSAMPLING_16;
  huart1.Init.OneBitSampling = UART_ONE_BIT_SAMPLE_DISABLE;
  huart1.Init.ClockPrescaler = UART_PRESCALER_DIV1;
  huart1.AdvancedInit.AdvFeatureInit = UART_ADVFEATURE_NO_INIT;
  if (HAL_UART_Init(&huart1) != HAL_OK)
  {
    Error_Handler();
  }
  if (HAL_UARTEx_SetTxFifoThreshold(&huart1, UART_TXFIFO_THRESHOLD_1_8) != HAL_OK)
  {
    Error_Handler();
  }
  if (HAL_UARTEx_SetRxFifoThreshold(&huart1, UART_RXFIFO_THRESHOLD_1_8) != HAL_OK)
  {
    Error_Handler();
  }
  if (HAL_UARTEx_DisableFifoMode(&huart1) != HAL_OK)
  {
    Error_Handler();
  }

}

static void MX_DMA_Init(void)
{

  /* DMA controller clock enable */
  __HAL_RCC_DMAMUX1_CLK_ENABLE();
  __HAL_RCC_DMA1_CLK_ENABLE();

  /* DMA interrupt init */
  /* DMA1_Channel1_IRQn interrupt configuration */
  HAL_NVIC_SetPriority(DMA1_Channel1_IRQn, 0, 0);
  HAL_NVIC_EnableIRQ(DMA1_Channel1_IRQn);
  /* DMA1_Channel2_IRQn interrupt configuration */
  HAL_NVIC_SetPriority(DMA1_Channel2_IRQn, 0, 0);
  HAL_NVIC_EnableIRQ(DMA1_Channel2_IRQn);
  /* DMAMUX_OVR_IRQn interrupt configuration */
  HAL_NVIC_SetPriority(DMAMUX_OVR_IRQn, 0, 0);
  HAL_NVIC_EnableIRQ(DMAMUX_OVR_IRQn);

}

static void MX_GPIO_Init(void)
{
  GPIO_InitTypeDef GPIO_InitStruct = {0};

  /* GPIO Ports Clock Enable */
  __HAL_RCC_GPIOF_CLK_ENABLE();
  __HAL_RCC_GPIOG_CLK_ENABLE();
  __HAL_RCC_GPIOA_CLK_ENABLE();
  __HAL_RCC_GPIOB_CLK_ENABLE();

  /*Configure GPIO pin Output Level */
  HAL_GPIO_WritePin(GPIOA, MODE_1X_Pin|STEP2_U1_Pin|DIR2_U2_Pin|DIR1_U2_Pin
                          |STEP2_U2_Pin|DIR2_U1_Pin|RED_LED_Pin|BRIGHT_LED_Pin, GPIO_PIN_RESET);

  /*Configure GPIO pin Output Level */
  HAL_GPIO_WritePin(GPIOB, DIR1_U1_Pin|STEP1_U1_Pin|STEP1_U2_Pin|MODE_0X_Pin
                          |ENABLE_DRIVERS_Pin, GPIO_PIN_RESET);

  /*Configure GPIO pin Output Level */
  HAL_GPIO_WritePin(SPI1_CS_GPIO_Port, SPI1_CS_Pin, GPIO_PIN_SET);

  /*Configure GPIO pin : VIN_SENSE_Pin */
  GPIO_InitStruct.Pin = VIN_SENSE_Pin;
  GPIO_InitStruct.Mode = GPIO_MODE_ANALOG;
  GPIO_InitStruct.Pull = GPIO_NOPULL;
  HAL_GPIO_Init(VIN_SENSE_GPIO_Port, &GPIO_InitStruct);

  /*Configure GPIO pin : NRST_Pin */
  GPIO_InitStruct.Pin = NRST_Pin;
  GPIO_InitStruct.Mode = GPIO_MODE_INPUT;
  GPIO_InitStruct.Pull = GPIO_PULLUP;
  HAL_GPIO_Init(NRST_GPIO_Port, &GPIO_InitStruct);

  /*Configure GPIO pins : FAULT1_U1_Pin FAULT2_U1_Pin */
  GPIO_InitStruct.Pin = FAULT1_U1_Pin|FAULT2_U1_Pin;
  GPIO_InitStruct.Mode = GPIO_MODE_INPUT;
  GPIO_InitStruct.Pull = GPIO_PULLUP;
  HAL_GPIO_Init(GPIOA, &GPIO_InitStruct);

  /*Configure GPIO pins : MODE_1X_Pin STEP2_U1_Pin DIR2_U2_Pin DIR1_U2_Pin
                           STEP2_U2_Pin DIR2_U1_Pin RED_LED_Pin BRIGHT_LED_Pin */
  GPIO_InitStruct.Pin = MODE_1X_Pin|STEP2_U1_Pin|DIR2_U2_Pin|DIR1_U2_Pin
                          |STEP2_U2_Pin|DIR2_U1_Pin|RED_LED_Pin|BRIGHT_LED_Pin;
  GPIO_InitStruct.Mode = GPIO_MODE_OUTPUT_PP;
  GPIO_InitStruct.Pull = GPIO_PULLDOWN;
  GPIO_InitStruct.Speed = GPIO_SPEED_FREQ_LOW;
  HAL_GPIO_Init(GPIOA, &GPIO_InitStruct);

  /*Configure GPIO pins : DIR1_U1_Pin STEP1_U1_Pin STEP1_U2_Pin MODE_0X_Pin */
  GPIO_InitStruct.Pin = DIR1_U1_Pin|STEP1_U1_Pin|STEP1_U2_Pin|MODE_0X_Pin;
  GPIO_InitStruct.Mode = GPIO_MODE_OUTPUT_PP;
  GPIO_InitStruct.Pull = GPIO_PULLDOWN;
  GPIO_InitStruct.Speed = GPIO_SPEED_FREQ_LOW;
  HAL_GPIO_Init(GPIOB, &GPIO_InitStruct);

  /*Configure GPIO pin : MAGNET_DETECT_Pin */
  GPIO_InitStruct.Pin = MAGNET_DETECT_Pin;
  GPIO_InitStruct.Mode = GPIO_MODE_INPUT;
  GPIO_InitStruct.Pull = GPIO_PULLDOWN;
  HAL_GPIO_Init(MAGNET_DETECT_GPIO_Port, &GPIO_InitStruct);

  /*Configure GPIO pins : FAULT2_U2_Pin FAULT1_U2_Pin */
  GPIO_InitStruct.Pin = FAULT2_U2_Pin|FAULT1_U2_Pin;
  GPIO_InitStruct.Mode = GPIO_MODE_INPUT;
  GPIO_InitStruct.Pull = GPIO_PULLUP;
  HAL_GPIO_Init(GPIOB, &GPIO_InitStruct);

  /*Configure GPIO pin : ENABLE_DRIVERS_Pin */
  GPIO_InitStruct.Pin = ENABLE_DRIVERS_Pin;
  GPIO_InitStruct.Mode = GPIO_MODE_OUTPUT_PP;
  GPIO_InitStruct.Pull = GPIO_NOPULL;
  GPIO_InitStruct.Speed = GPIO_SPEED_FREQ_LOW;
  HAL_GPIO_Init(ENABLE_DRIVERS_GPIO_Port, &GPIO_InitStruct);

  /*Configure GPIO pin : SPI1_CS_Pin */
  GPIO_InitStruct.Pin = SPI1_CS_Pin;
  GPIO_InitStruct.Mode = GPIO_MODE_OUTPUT_PP;
  GPIO_InitStruct.Pull = GPIO_NOPULL;
  GPIO_InitStruct.Speed = GPIO_SPEED_FREQ_VERY_HIGH;
  HAL_GPIO_Init(SPI1_CS_GPIO_Port, &GPIO_InitStruct);

}

void Error_Handler(void)
{
  __disable_irq();
  while (1)
  {
  }
}
